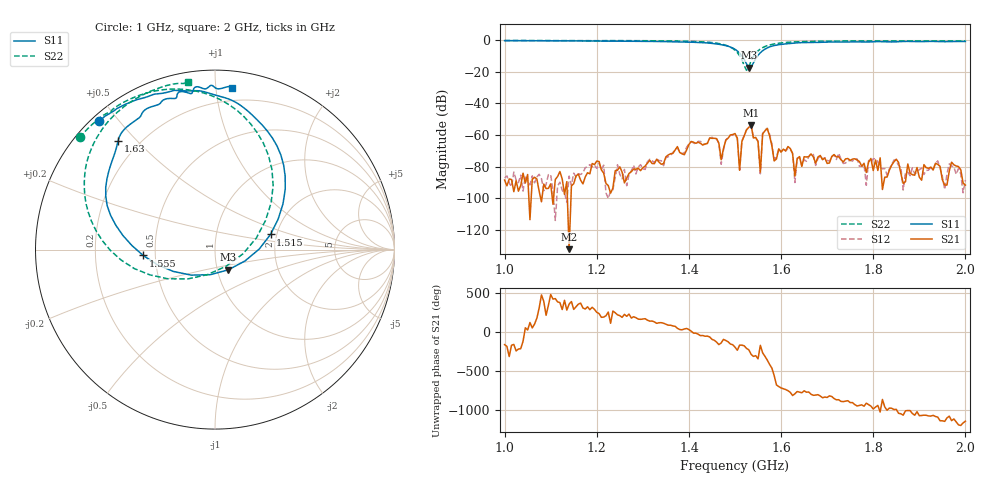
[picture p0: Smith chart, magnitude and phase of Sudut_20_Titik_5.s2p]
# Hz S RI R 50
! CMT, C1220, 16058040, 17.2.0/1
! Date: 14/08/2018 11:45:55
! Data: Format (Calibration Info)
! Freq  S11: Re/Im (F2)  S21: Re/Im (F2)  S12: Re/Im (F2)  S22: Re/Im (F2)
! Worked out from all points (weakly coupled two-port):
!   201 points, 1 GHz to 2 GHz, reference 50 ohm
!   highest |S21| = -53.89 dB at 1.535 GHz (marker M1); lowest = -132.2 dB at 1.14 GHz (marker M2)
!   lowest |S11| = -17.4 dB at 1.53 GHz (marker M3), VSWR 1.31, Z = 56.5 - j12.9 ohm
!   |S11| at or under -10 dB: 1.515 GHz to 1.549 GHz (33.62 MHz wide, 2.19 % of centre)
!   |S22| runs from -19.1 to -0.2 dB; largest |S21 - S12| = 0.00024
!   S11 on the Smith chart (normalised r, x): 1 GHz: 0.02, +0.44; 1.515 GHz: 1.85, +0.35; 1.555 GHz: 0.43, -0.03; 1.63 GHz: 0.12, +0.44; 2 GHz: 0.11, +1.11
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1e9  -0.6486 0.715  -3.57e-05 -1.27e-05  -3.57e-05 2.59e-05  -0.7549 0.6246
1.14e9  -0.4985 0.8101  2.46e-07 -2.05e-09  5.07e-05 1.16e-06  -0.6477 0.729
1.17e9  -0.4674 0.8228  1.84e-05 -2.23e-05  3.23e-05 -5.58e-05  -0.6182 0.7509
1.335e9  -0.2018 0.8855  -7.15e-05 0.000121  -3.13e-05 0.000154  -0.4006 0.8664
1.45e9  0.185 0.7703  -2.91e-05 -0.000791  6.22e-06 -0.000854  0.0224 0.839
1.47e9  0.2919 0.6601  -0.000124 -0.00011  -8.83e-05 -8.07e-05  0.1624 0.7398
1.48e9  0.3454 0.5778  -0.000197 -0.000657  -0.00019 -0.000679  0.2357 0.6509
1.5e9  0.3913 0.3354  -0.0011 0.000237  -0.00105 0.000274  0.3239 0.3565
1.51e9  0.3521 0.1703  -7.55e-05 -1.84e-05  -6.79e-05 -4.09e-05  0.2812 0.1618
1.515e9  0.3094 0.0845  -0.000618 -0.000147  -0.000646 -0.0001  0.2307 0.0652
1.53e9  0.0747 -0.1125  -0.00121 0.00128  -0.0012 0.0013  -0.0422 -0.1395
1.535e9  -0.0265 -0.1398  0.000496 0.00196  0.000507 0.00193  -0.1532 -0.1637
1.55e9  -0.3232 -0.0829  0.00059 0.000195  0.00061 0.000202  -0.45 -0.1054
1.555e9  -0.4003 -0.0326  -6.68e-05 -1.3e-05  -5.29e-05 -2.83e-05  -0.5228 -0.0584
1.56e9  -0.4632 0.0229  -8.93e-05 0.0011  -0.000168 0.00111  -0.5813 -0.00617
1.57e9  -0.5524 0.1354  0.00161 6.14e-05  0.00166 5.04e-05  -0.6625 0.1044
1.585e9  -0.6087 0.297  -0.000147 4.2e-05  -0.000144 8.7e-05  -0.7184 0.2553
1.615e9  -0.5577 0.539  0.000376 -0.00022  0.00033 -0.000189  -0.7185 0.4693
1.63e9  -0.5399 0.6073  1.76e-05 -4.81e-05  2.61e-05 -1.81e-05  -0.6969 0.5418
1.67e9  -0.4297 0.7281  2.19e-06 -0.000205  -2.48e-05 -0.000244  -0.6274 0.6722
1.835e9  -0.1384 0.8696  -2.25e-05 7.5e-05  -9.15e-06 8.47e-05  -0.3769 0.8746
2e9  0.0966 0.903  1.28e-05 -2.31e-05  -6.88e-06 -3.76e-05  -0.1516 0.9343
